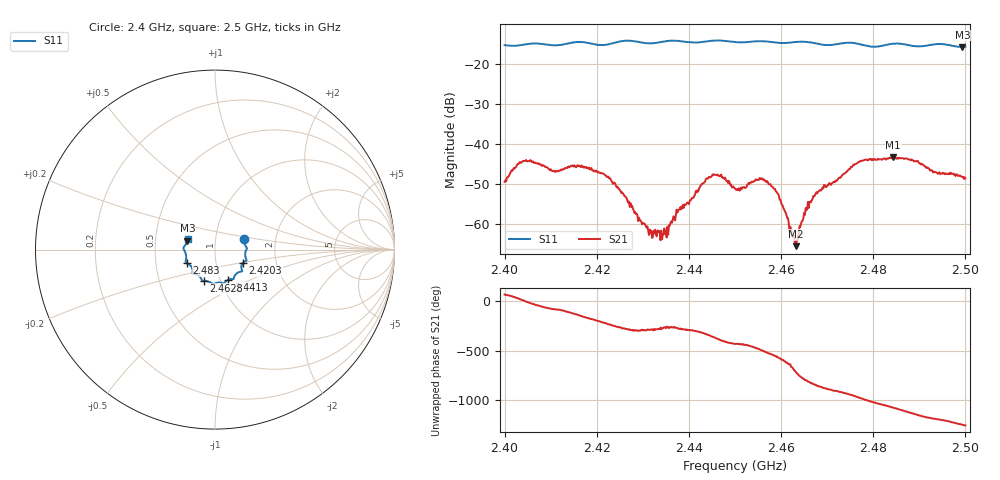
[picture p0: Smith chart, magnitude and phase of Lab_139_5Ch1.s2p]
# Hz S RI R 50
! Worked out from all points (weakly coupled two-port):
!   601 points, 2.4 GHz to 2.5 GHz, reference 50 ohm
!   highest |S21| = -43.35 dB at 2.4843 GHz (marker M1); lowest = -65.5 dB at 2.4632 GHz (marker M2)
!   lowest |S11| = -15.8 dB at 2.4993 GHz (marker M3), VSWR 1.39, Z = 36.5 + j3.7 ohm
!   |S11| at or under -10 dB: start of sweep to end of sweep
!   S12 and S22 are empty: the file has one direction only
!   S11 on the Smith chart (normalised r, x): 2.4 GHz: 1.37, +0.16; 2.4203 GHz: 1.35, -0.21; 2.4413 GHz: 1.09, -0.38; 2.4628 GHz: 0.83, -0.30; 2.483 GHz: 0.72, -0.11; 2.5 GHz: 0.73, +0.09
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2.4e9  0.1607 0.0569  0.00133 0.00311  0 0  0 0
2.404333e9  0.1728 0.0163  0.00616 0.000288  0 0  0 0
2.410667e9  0.1686 -0.0171  0.000913 -0.00448  0 0  0 0
2.416667e9  0.176 -0.0616  -0.00469 -0.00264  0 0  0 0
2.420333e9  0.1551 -0.0739  -0.00424 0.00153  0 0  0 0
2.424333e9  0.1488 -0.1108  -0.000587 0.00283  0 0  0 0
2.431667e9  0.1177 -0.1354  0.000263 0.000732  0 0  0 0
2.433333e9  0.1081 -0.1485  0.000137 0.000824  0 0  0 0
2.441333e9  0.0742 -0.168  0.00119 0.002  0 0  0 0
2.445667e9  0.0506 -0.188  0.00412 -0.00054  0 0  0 0
2.45e9  0.0293 -0.1837  0.000896 -0.00265  0 0  0 0
2.457167e9  -0.0177 -0.1879  -0.00316 -0.000957  0 0  0 0
2.4595e9  -0.0343 -0.1789  -0.00195 0.00123  0 0  0 0
2.462833e9  -0.063 -0.1748  0.000659 0.000273  0 0  0 0
2.463167e9  -0.0648 -0.1748  0.00053 5.51e-05  0 0  0 0
2.466667e9  -0.0743 -0.1676  -0.000567 -0.00191  0 0  0 0
2.476833e9  -0.1244 -0.1257  -0.00209 0.0056  0 0  0 0
2.483e9  -0.155 -0.0768  0.00601 0.00267  0 0  0 0
2.483333e9  -0.1571 -0.0759  0.00622 0.00217  0 0  0 0
2.484333e9  -0.1619 -0.0734  0.00676 0.000773  0 0  0 0
2.499333e9  -0.1542 0.0494  -0.00377 -0.00087  0 0  0 0
2.5e9  -0.1524 0.0587  -0.00372 -0.000414  0 0  0 0
